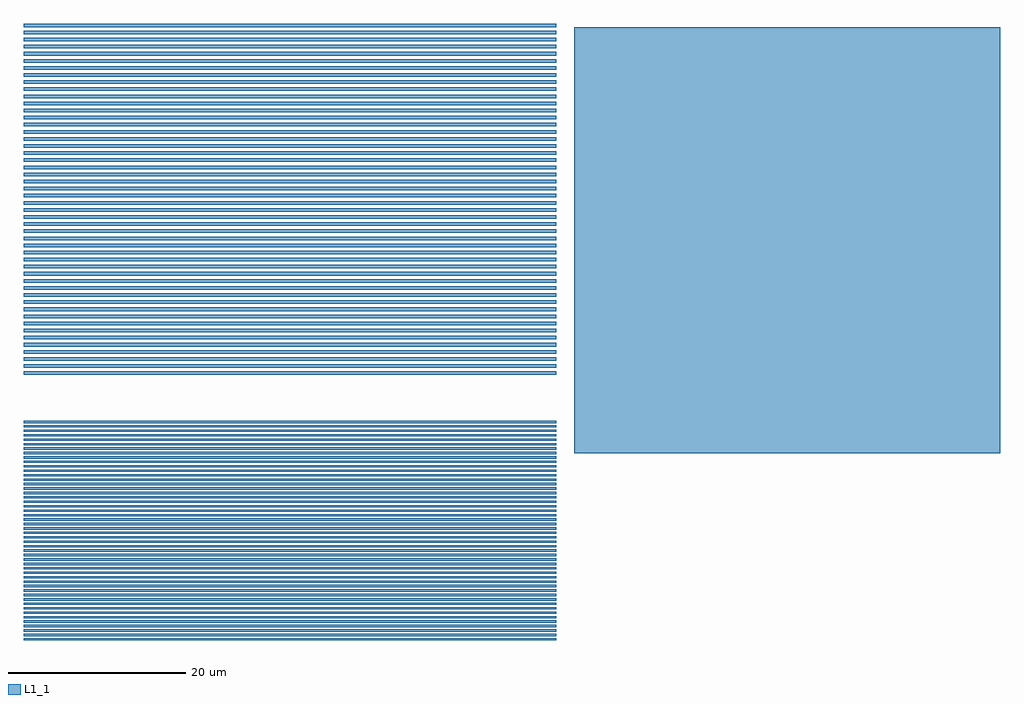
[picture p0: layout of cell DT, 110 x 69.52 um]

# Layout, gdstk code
import gdstk
lib = gdstk.Library(unit=1e-6, precision=1e-09)
def P(c, l, *ps):  # polygons
    for p in ps: c.add(gdstk.Polygon(p, *l))
L1_1 = (1, 1)

c_dt = lib.new_cell('DT')
P(c_dt, L1_1, [(-30,-30.125),(-30,-29.875),(30,-29.875),(30,-30.125),(-30,-30.125)],
  [(-30,-29.625),(-30,-29.375),(30,-29.375),(30,-29.625),(-30,-29.625)],
  [(-30,-29.125),(-30,-28.875),(30,-28.875),(30,-29.125),(-30,-29.125)],
  [(-30,-28.625),(-30,-28.375),(30,-28.375),(30,-28.625),(-30,-28.625)],
  [(-30,-28.125),(-30,-27.875),(30,-27.875),(30,-28.125),(-30,-28.125)],
  [(-30,-27.625),(-30,-27.375),(30,-27.375),(30,-27.625),(-30,-27.625)],
  [(-30,-27.125),(-30,-26.875),(30,-26.875),(30,-27.125),(-30,-27.125)],
  [(-30,-26.625),(-30,-26.375),(30,-26.375),(30,-26.625),(-30,-26.625)],
  [(-30,-26.125),(-30,-25.875),(30,-25.875),(30,-26.125),(-30,-26.125)],
  [(-30,-25.625),(-30,-25.375),(30,-25.375),(30,-25.625),(-30,-25.625)],
  [(-30,-25.125),(-30,-24.875),(30,-24.875),(30,-25.125),(-30,-25.125)],
  [(-30,-24.625),(-30,-24.375),(30,-24.375),(30,-24.625),(-30,-24.625)],
  [(-30,-24.125),(-30,-23.875),(30,-23.875),(30,-24.125),(-30,-24.125)],
  [(-30,-23.625),(-30,-23.375),(30,-23.375),(30,-23.625),(-30,-23.625)],
  [(-30,-23.125),(-30,-22.875),(30,-22.875),(30,-23.125),(-30,-23.125)],
  [(-30,-22.625),(-30,-22.375),(30,-22.375),(30,-22.625),(-30,-22.625)],
  [(-30,-22.125),(-30,-21.875),(30,-21.875),(30,-22.125),(-30,-22.125)],
  [(-30,-21.625),(-30,-21.375),(30,-21.375),(30,-21.625),(-30,-21.625)],
  [(-30,-21.125),(-30,-20.875),(30,-20.875),(30,-21.125),(-30,-21.125)],
  [(-30,-20.625),(-30,-20.375),(30,-20.375),(30,-20.625),(-30,-20.625)],
  [(-30,-20.125),(-30,-19.875),(30,-19.875),(30,-20.125),(-30,-20.125)],
  [(-30,-19.625),(-30,-19.375),(30,-19.375),(30,-19.625),(-30,-19.625)],
  [(-30,-19.125),(-30,-18.875),(30,-18.875),(30,-19.125),(-30,-19.125)],
  [(-30,-18.625),(-30,-18.375),(30,-18.375),(30,-18.625),(-30,-18.625)],
  [(-30,-18.125),(-30,-17.875),(30,-17.875),(30,-18.125),(-30,-18.125)],
  [(-30,-17.625),(-30,-17.375),(30,-17.375),(30,-17.625),(-30,-17.625)],
  [(-30,-17.125),(-30,-16.875),(30,-16.875),(30,-17.125),(-30,-17.125)],
  [(-30,-16.625),(-30,-16.375),(30,-16.375),(30,-16.625),(-30,-16.625)],
  [(-30,-16.125),(-30,-15.875),(30,-15.875),(30,-16.125),(-30,-16.125)],
  [(-30,-15.625),(-30,-15.375),(30,-15.375),(30,-15.625),(-30,-15.625)],
  [(-30,-15.125),(-30,-14.875),(30,-14.875),(30,-15.125),(-30,-15.125)],
  [(-30,-14.625),(-30,-14.375),(30,-14.375),(30,-14.625),(-30,-14.625)],
  [(-30,-14.125),(-30,-13.875),(30,-13.875),(30,-14.125),(-30,-14.125)],
  [(-30,-13.625),(-30,-13.375),(30,-13.375),(30,-13.625),(-30,-13.625)],
  [(-30,-13.125),(-30,-12.875),(30,-12.875),(30,-13.125),(-30,-13.125)],
  [(-30,-12.625),(-30,-12.375),(30,-12.375),(30,-12.625),(-30,-12.625)],
  [(-30,-12.125),(-30,-11.875),(30,-11.875),(30,-12.125),(-30,-12.125)],
  [(-30,-11.625),(-30,-11.375),(30,-11.375),(30,-11.625),(-30,-11.625)],
  [(-30,-11.125),(-30,-10.875),(30,-10.875),(30,-11.125),(-30,-11.125)],
  [(-30,-10.625),(-30,-10.375),(30,-10.375),(30,-10.625),(-30,-10.625)],
  [(-30,-10.125),(-30,-9.875),(30,-9.875),(30,-10.125),(-30,-10.125)],
  [(-30,-9.625),(-30,-9.375),(30,-9.375),(30,-9.625),(-30,-9.625)],
  [(-30,-9.125),(-30,-8.875),(30,-8.875),(30,-9.125),(-30,-9.125)],
  [(-30,-8.625),(-30,-8.375),(30,-8.375),(30,-8.625),(-30,-8.625)],
  [(-30,-8.125),(-30,-7.875),(30,-7.875),(30,-8.125),(-30,-8.125)],
  [(-30,-7.625),(-30,-7.375),(30,-7.375),(30,-7.625),(-30,-7.625)],
  [(-30,-7.125),(-30,-6.875),(30,-6.875),(30,-7.125),(-30,-7.125)],
  [(-30,-6.625),(-30,-6.375),(30,-6.375),(30,-6.625),(-30,-6.625)],
  [(-30,-6.125),(-30,-5.875),(30,-5.875),(30,-6.125),(-30,-6.125)],
  [(-30,-5.625),(-30,-5.375),(30,-5.375),(30,-5.625),(-30,-5.625)],
  [(32,-9),(32,-9),(32,39),(80,39),(80,-9)],
  [(-30,-0.2),(-30,0.2),(30,0.2),(30,-0.2),(-30,-0.2)],
  [(-30,0.6),(-30,1),(30,1),(30,0.6),(-30,0.6)],
  [(-30,1.4),(-30,1.8),(30,1.8),(30,1.4),(-30,1.4)],
  [(-30,2.2),(-30,2.6),(30,2.6),(30,2.2),(-30,2.2)],
  [(-30,3),(-30,3.4),(30,3.4),(30,3),(-30,3)],
  [(-30,3.8),(-30,4.2),(30,4.2),(30,3.8),(-30,3.8)],
  [(-30,4.6),(-30,5),(30,5),(30,4.6),(-30,4.6)],
  [(-30,5.4),(-30,5.8),(30,5.8),(30,5.4),(-30,5.4)],
  [(-30,6.2),(-30,6.6),(30,6.6),(30,6.2),(-30,6.2)],
  [(-30,7),(-30,7.4),(30,7.4),(30,7),(-30,7)],
  [(-30,7.8),(-30,8.2),(30,8.2),(30,7.8),(-30,7.8)],
  [(-30,8.6),(-30,9),(30,9),(30,8.6),(-30,8.6)],
  [(-30,9.4),(-30,9.8),(30,9.8),(30,9.4),(-30,9.4)],
  [(-30,10.2),(-30,10.6),(30,10.6),(30,10.2),(-30,10.2)],
  [(-30,11),(-30,11.4),(30,11.4),(30,11),(-30,11)],
  [(-30,11.8),(-30,12.2),(30,12.2),(30,11.8),(-30,11.8)],
  [(-30,12.6),(-30,13),(30,13),(30,12.6),(-30,12.6)],
  [(-30,13.4),(-30,13.8),(30,13.8),(30,13.4),(-30,13.4)],
  [(-30,14.2),(-30,14.6),(30,14.6),(30,14.2),(-30,14.2)],
  [(-30,15),(-30,15.4),(30,15.4),(30,15),(-30,15)],
  [(-30,15.8),(-30,16.2),(30,16.2),(30,15.8),(-30,15.8)],
  [(-30,16.6),(-30,17),(30,17),(30,16.6),(-30,16.6)],
  [(-30,17.4),(-30,17.8),(30,17.8),(30,17.4),(-30,17.4)],
  [(-30,18.2),(-30,18.6),(30,18.6),(30,18.2),(-30,18.2)],
  [(-30,19),(-30,19.4),(30,19.4),(30,19),(-30,19)],
  [(-30,19.8),(-30,20.2),(30,20.2),(30,19.8),(-30,19.8)],
  [(-30,20.6),(-30,21),(30,21),(30,20.6),(-30,20.6)],
  [(-30,21.4),(-30,21.8),(30,21.8),(30,21.4),(-30,21.4)],
  [(-30,22.2),(-30,22.6),(30,22.6),(30,22.2),(-30,22.2)],
  [(-30,23),(-30,23.4),(30,23.4),(30,23),(-30,23)],
  [(-30,23.8),(-30,24.2),(30,24.2),(30,23.8),(-30,23.8)],
  [(-30,24.6),(-30,25),(30,25),(30,24.6),(-30,24.6)],
  [(-30,25.4),(-30,25.8),(30,25.8),(30,25.4),(-30,25.4)],
  [(-30,26.2),(-30,26.6),(30,26.6),(30,26.2),(-30,26.2)],
  [(-30,27),(-30,27.4),(30,27.4),(30,27),(-30,27)],
  [(-30,27.8),(-30,28.2),(30,28.2),(30,27.8),(-30,27.8)],
  [(-30,28.6),(-30,29),(30,29),(30,28.6),(-30,28.6)],
  [(-30,29.4),(-30,29.8),(30,29.8),(30,29.4),(-30,29.4)],
  [(-30,30.2),(-30,30.6),(30,30.6),(30,30.2),(-30,30.2)],
  [(-30,31),(-30,31.4),(30,31.4),(30,31),(-30,31)],
  [(-30,31.8),(-30,32.2),(30,32.2),(30,31.8),(-30,31.8)],
  [(-30,32.6),(-30,33),(30,33),(30,32.6),(-30,32.6)],
  [(-30,33.4),(-30,33.8),(30,33.8),(30,33.4),(-30,33.4)],
  [(-30,34.2),(-30,34.6),(30,34.6),(30,34.2),(-30,34.2)],
  [(-30,35),(-30,35.4),(30,35.4),(30,35),(-30,35)],
  [(-30,35.8),(-30,36.2),(30,36.2),(30,35.8),(-30,35.8)],
  [(-30,36.6),(-30,37),(30,37),(30,36.6),(-30,36.6)],
  [(-30,37.4),(-30,37.8),(30,37.8),(30,37.4),(-30,37.4)],
  [(-30,38.2),(-30,38.6),(30,38.6),(30,38.2),(-30,38.2)],
  [(-30,39),(-30,39.4),(30,39.4),(30,39),(-30,39)])

lib.write_gds('DT.gds')
